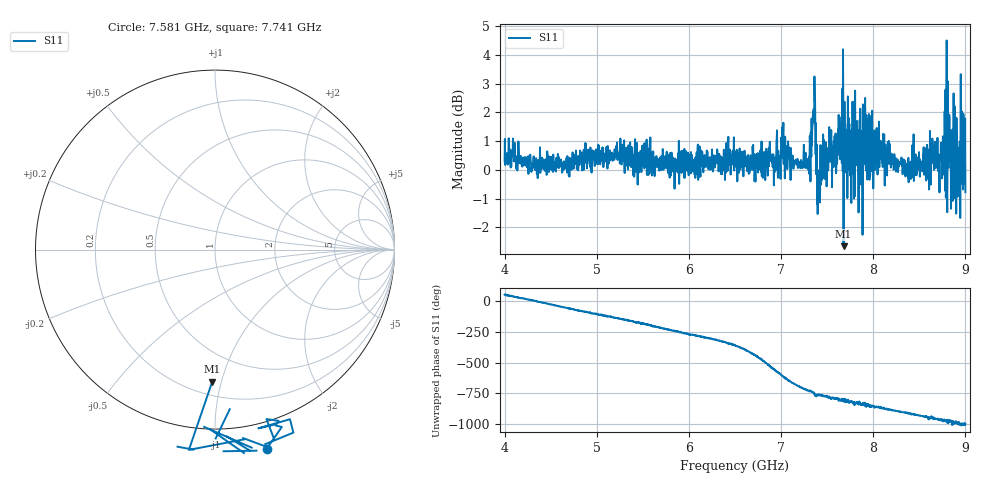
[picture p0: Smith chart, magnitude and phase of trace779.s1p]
! Created with skrf 1.8.0 (http://scikit-rf.org).
# Hz S RI R 50.0
!freq ReS11 ImS11
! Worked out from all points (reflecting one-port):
!   1601 points, 4 GHz to 9 GHz, reference 50 ohm
!   lowest |S11| = -2.7 dB at 7.678 GHz (marker M1), VSWR 6.58, Z = 14.6 - j46.8 ohm
!   phase of S11 starts at 50 deg and turns -1047 deg over the sweep
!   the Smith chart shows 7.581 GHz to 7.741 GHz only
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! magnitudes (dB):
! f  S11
! 4 GHz  0.3
! 4.625 GHz  -0.1
! 5.25 GHz  0.2
! 5.875 GHz  0.3
! 6.5 GHz  0.6
! 6.922 GHz  -0.5
! 7.022 GHz  1.3
! 7.125 GHz  0.5
! 7.294 GHz  0.0
! 7.353 GHz  2.1
! 7.397 GHz  -1.5
! 7.416 GHz  -0.6
! 7.525 GHz  0.8
! 7.588 GHz  0.3
! 7.65 GHz  1.2
! 7.678 GHz  -2.7
! 7.75 GHz  0.3
! 7.769 GHz  -0.1
! 7.859 GHz  2.1
! 7.928 GHz  0.9
! 7.981 GHz  0.6
! 8.375 GHz  -0.2
! 8.656 GHz  0.7
! 8.744 GHz  0.9
! 8.809 GHz  3.1
! 8.856 GHz  -0.4
! 8.972 GHz  0.3
! 9 GHz  -0.8
